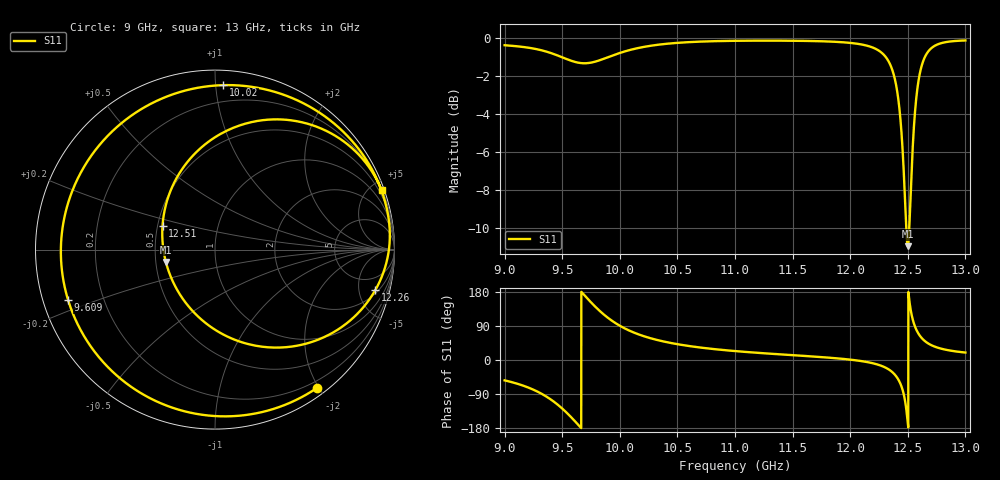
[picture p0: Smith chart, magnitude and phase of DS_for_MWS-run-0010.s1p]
! TOUCHSTONE file generated by CST DESIGN STUDIO
! Date and time: Tue Feb  4 17:47:27 2025
! Project name: C:\Work\MatlabApps\UnitCellOptimizationMatlab\CST\unitcell.cst
! Tree item: Tasks\Sweep1\SPara1\S-Parameters
! Header version: 2024
! Port assignment regex: !\s*Touchstone port\s*([0-9]+)\s*=\s*(CST MWS port|CST DES external port|CST DES block port)\s*(.+)\s* \(\"(.*)\"\)(\s*mode\s*([0-9]+))?.*
! Touchstone port assignment:
! Touchstone port 1 = CST DES external port 1 ("")
# GHz S MA R 50
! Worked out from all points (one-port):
!   4001 points, 9 GHz to 13 GHz, reference 50 ohm
!   lowest |S11| = -11.0 dB at 12.5 GHz (marker M1), VSWR 1.79, Z = 28.3 - j4.2 ohm
!   |S11| at or under -10 dB: 12.48631 GHz to 12.51294 GHz (26.62 MHz wide, 0.213 % of centre)
!   S11 on the Smith chart (normalised r, x): 9 GHz: 0.11, -1.97; 9.609 GHz: 0.07, -0.17; 10.02 GHz: 0.09, +1.05; 12.26 GHz: 2.41, -7.19; 12.51 GHz: 0.53, +0.16; 13 GHz: 0.25, +5.76
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9  0.9574 -53.7
9.171  0.9465 -68.7
9.324  0.9278 -89.6
9.418  0.9094 -107.8
9.5  0.8897 -128.0
9.609  0.8653 -161.0
9.705  0.8581 166.8
9.816  0.872 132.2
9.902  0.8913 110.1
10  0.9134 90.4
10.019  0.9173 87.2
10.23  0.9502 60.7
10.5  0.9713 41.7
11  0.9835 23.6
11.5  0.9838 12.8
12  0.9711 1.0
12.261  0.9208 -14.3
12.364  0.8264 -31.6
12.4  0.7475 -43.4
12.433  0.6254 -60.6
12.467  0.4307 -93.2
12.5  0.2823 -166.0
12.514  0.3215 155.4
12.556  0.6004 93.7
12.6  0.7936 66.1
12.656  0.9006 48.0
12.729  0.9522 35.9
13  0.9856 19.7
